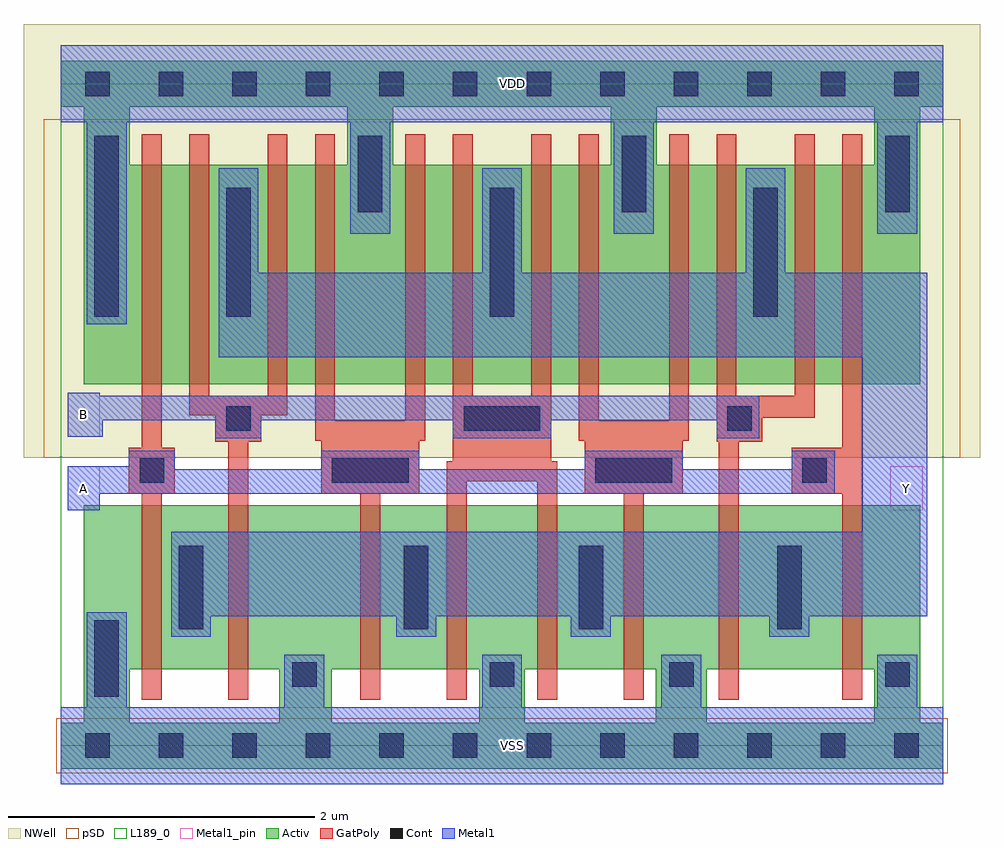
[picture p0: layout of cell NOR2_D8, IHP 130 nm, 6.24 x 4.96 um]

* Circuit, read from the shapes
.subckt NOR2_D8 A B VDD VSS Y
XM1 Y A VSS VSS sg13_lv_nmos w=1.07u l=0.13u m=4
XM2 VSS B Y VSS sg13_lv_nmos w=1.07u l=0.13u m=4
XM3 n1 A VDD VDD sg13_lv_pmos w=1.43u l=0.13u
XM4 Y B n1 VDD sg13_lv_pmos w=1.43u l=0.13u
XM5 n2 B Y VDD sg13_lv_pmos w=1.43u l=0.13u
XM6 VDD A n2 VDD sg13_lv_pmos w=1.43u l=0.13u
XM7 n3 A VDD VDD sg13_lv_pmos w=1.43u l=0.13u
XM8 Y B n3 VDD sg13_lv_pmos w=1.43u l=0.13u
XM9 n4 B Y VDD sg13_lv_pmos w=1.43u l=0.13u
XM10 VDD A n4 VDD sg13_lv_pmos w=1.43u l=0.13u
XM11 n5 A VDD VDD sg13_lv_pmos w=1.43u l=0.13u
XM12 Y B n5 VDD sg13_lv_pmos w=1.43u l=0.13u
XM13 n6 B Y VDD sg13_lv_pmos w=1.43u l=0.13u
XM14 VDD A n6 VDD sg13_lv_pmos w=1.43u l=0.13u
.ends

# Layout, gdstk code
import gdstk
lib = gdstk.Library(unit=1e-6, precision=1e-09)
def R(c, l, rs):  # rectangles x0, y0, x1, y1
    for r in rs: c.add(gdstk.rectangle(r[:2], r[2:], *l))
def A(c, l, x, y, w, h, nx, ny, dx, dy):  # array of equal rectangles
    R(c, l, [(x+i*dx, y+j*dy, x+i*dx+w, y+j*dy+h) for i in range(nx) for j in range(ny)])
def P(c, l, *ps):  # polygons
    for p in ps: c.add(gdstk.Polygon(p, *l))
Activ = (1, 0)
GatPoly = (5, 0)
Cont = (6, 0)
Metal1 = (8, 0)
Metal1_pin = (8, 2)
pSD = (14, 0)
NWell = (31, 0)
L189_0 = (189, 0)

nor2_d8 = lib.new_cell('NOR2_D8')
P(nor2_d8, Activ, [(0,-0.15),(0,0.15),(0.15,0.15),(0.15,0.5),(0.45,0.5),(0.45,0.15),(1.425,0.15),(1.425,0.5),(1.77,0.5),(1.77,0.15),(2.73,0.15),(2.73,0.5),(3.03,0.5),(3.03,0.15),(3.885,0.15),(3.885,0.5),(4.215,0.5),(4.215,0.15),(5.31,0.15),(5.31,0.5),(0.15,0.5),(0.15,1.57),(5.61,1.57),(5.61,0.15),(5.76,0.15),(5.76,-0.15)],
  [(0.15,2.36),(0.15,4.17),(0.45,4.17),(0.45,3.79),(1.87,3.79),(1.87,4.17),(2.17,4.17),(2.17,3.79),(3.59,3.79),(3.59,4.17),(3.89,4.17),(3.89,3.79),(5.31,3.79),(5.31,4.17),(0,4.17),(0,4.47),(5.76,4.47),(5.76,4.17),(5.61,4.17),(5.61,2.36)])
P(nor2_d8, GatPoly, [(0.53,0.3),(0.53,1.645),(0.445,1.645),(0.445,1.945),(0.53,1.945),(0.53,3.99),(0.66,3.99),(0.66,1.945),(0.745,1.945),(0.745,1.645),(0.66,1.645),(0.66,0.3)],
  [(1.095,0.3),(1.095,1.985),(1.01,1.985),(1.01,2.155),(0.84,2.155),(0.84,3.99),(0.97,3.99),(0.97,2.285),(1.35,2.285),(1.35,3.99),(1.48,3.99),(1.48,2.155),(1.31,2.155),(1.31,1.985),(1.225,1.985),(1.225,0.3)],
  [(1.955,0.3),(1.955,1.645),(1.7,1.645),(1.7,1.99),(1.66,1.99),(1.66,3.99),(1.79,3.99),(1.79,2.12),(2.25,2.12),(2.25,3.99),(2.38,3.99),(2.38,1.99),(2.34,1.99),(2.34,1.645),(2.085,1.645),(2.085,0.3)],
  [(2.52,0.3),(2.52,1.855),(2.56,1.855),(2.56,3.99),(2.69,3.99),(2.69,2.285),(3.07,2.285),(3.07,3.99),(3.2,3.99),(3.2,1.855),(3.24,1.855),(3.24,0.3),(3.11,0.3),(3.11,1.725),(2.65,1.725),(2.65,0.3)],
  [(3.675,0.3),(3.675,1.645),(3.42,1.645),(3.42,1.99),(3.38,1.99),(3.38,3.99),(3.51,3.99),(3.51,2.12),(3.97,2.12),(3.97,3.99),(4.1,3.99),(4.1,1.99),(4.06,1.99),(4.06,1.645),(3.805,1.645),(3.805,0.3)],
  [(4.295,0.3),(4.295,1.985),(4.28,1.985),(4.28,3.99),(4.41,3.99),(4.41,2.285),(4.79,2.285),(4.79,3.99),(4.92,3.99),(4.92,2.14),(4.58,2.14),(4.58,1.985),(4.425,1.985),(4.425,0.3)],
  [(5.1,0.3),(5.1,1.645),(4.77,1.645),(4.77,1.945),(5.1,1.945),(5.1,3.99),(5.23,3.99),(5.23,0.3)])
A(nor2_d8, Cont, 0.16, -0.08, 0.16, 0.16, 12, 2, 0.48, 4.32)
A(nor2_d8, Cont, 1.08, 2.8, 0.16, 0.84, 3, 1, 1.72, 0)
A(nor2_d8, Cont, 1.94, 3.48, 0.16, 0.5, 3, 1, 1.72, 0)
R(nor2_d8, Cont, [(0.22,0.32,0.38,0.82), (1.51,0.385,1.67,0.545), (2.8,0.385,2.96,0.545), (3.97,0.385,4.13,0.545), (5.38,0.385,5.54,0.545), (0.77,0.76,0.93,1.305), (2.24,0.76,2.4,1.305), (3.38,0.76,3.54,1.305), (4.675,0.76,4.835,1.305), (0.515,1.715,0.675,1.875), (1.77,1.715,2.27,1.875), (3.49,1.715,3.99,1.875), (4.84,1.715,5,1.875), (1.08,2.055,1.24,2.215), (2.63,2.055,3.13,2.215), (4.35,2.055,4.51,2.215), (0.22,2.8,0.38,3.98)])
P(nor2_d8, Metal1, [(0,-0.25),(0,0.25),(0.17,0.25),(0.17,0.87),(0.43,0.87),(0.43,0.25),(1.46,0.25),(1.46,0.595),(1.72,0.595),(1.72,0.25),(2.75,0.25),(2.75,0.595),(3.01,0.595),(3.01,0.25),(3.92,0.25),(3.92,0.595),(4.18,0.595),(4.18,0.25),(5.33,0.25),(5.33,0.595),(5.59,0.595),(5.59,0.25),(5.76,0.25),(5.76,-0.25)],
  [(0.045,1.535),(0.045,1.825),(0.445,1.825),(0.445,1.925),(0.745,1.925),(0.745,1.805),(1.7,1.805),(1.7,1.925),(2.34,1.925),(2.34,1.805),(3.42,1.805),(3.42,1.925),(4.06,1.925),(4.06,1.805),(4.77,1.805),(4.77,1.925),(5.05,1.925),(5.05,1.645),(0.255,1.645),(0.255,1.535)],
  [(1.01,2.005),(1.01,2.125),(0.275,2.125),(0.275,2.015),(0.045,2.015),(0.045,2.305),(0.255,2.305),(0.255,2.285),(4.56,2.285),(4.56,2.005),(4.28,2.005),(4.28,2.125),(3.2,2.125),(3.2,2.005),(2.56,2.005),(2.56,2.125),(1.31,2.125),(1.31,2.005)],
  [(0.72,0.71),(0.72,1.395),(5.23,1.395),(5.23,2.535),(1.03,2.535),(1.03,3.77),(1.29,3.77),(1.29,3.085),(2.75,3.085),(2.75,3.77),(3.01,3.77),(3.01,3.085),(4.47,3.085),(4.47,3.77),(4.73,3.77),(4.73,3.085),(5.655,3.085),(5.655,0.845),(4.885,0.845),(4.885,0.71),(4.625,0.71),(4.625,0.845),(3.59,0.845),(3.59,0.71),(3.33,0.71),(3.33,0.845),(2.45,0.845),(2.45,0.71),(2.19,0.71),(2.19,0.845),(0.98,0.845),(0.98,0.71)],
  [(0.17,2.75),(0.17,4.07),(0,4.07),(0,4.57),(5.76,4.57),(5.76,4.07),(5.59,4.07),(5.59,3.34),(5.33,3.34),(5.33,4.07),(3.87,4.07),(3.87,3.34),(3.61,3.34),(3.61,4.07),(2.15,4.07),(2.15,3.34),(1.89,3.34),(1.89,4.07),(0.43,4.07),(0.43,2.75)])
R(nor2_d8, Metal1_pin, [(0,-0.25,5.76,0.25), (0.045,1.535,0.255,1.825), (5.415,1.535,5.625,1.825), (0.045,2.015,0.255,2.305), (0,4.07,5.76,4.57)])
R(nor2_d8, pSD, [(-0.03,-0.18,5.79,0.18), (-0.11,1.88,5.87,4.09)])
R(nor2_d8, NWell, [(-0.24,1.88,6,4.71)])
R(nor2_d8, L189_0, [(0,0,5.76,4.32)])
nor2_d8.add(gdstk.Label('B', (0.15,2.16), layer=8, texttype=25))
nor2_d8.add(gdstk.Label('A', (0.15,1.68), layer=8, texttype=25))
nor2_d8.add(gdstk.Label('VDD', (2.95,4.32), layer=8, texttype=25))
nor2_d8.add(gdstk.Label('Y', (5.52,1.68), layer=8, texttype=25))
nor2_d8.add(gdstk.Label('VSS', (2.95,0), layer=8, texttype=25))

lib.write_gds('NOR2_D8.gds')
